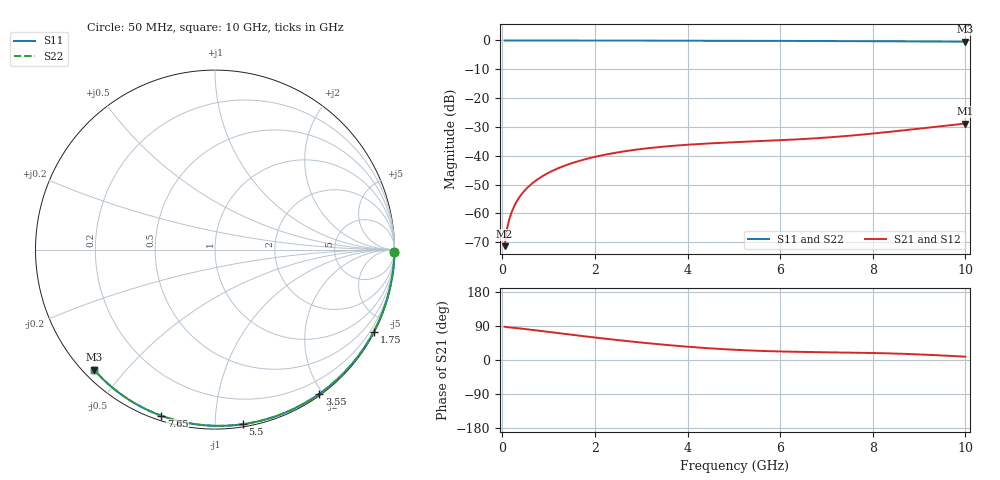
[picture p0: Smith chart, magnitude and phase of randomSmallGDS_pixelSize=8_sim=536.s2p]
! freq	dB(S11)	phase(S11)	dB(S12)	phase(S12)
!  dB(S21)	phase(S21)	dB(S22)	phase(S22)
!S-par simulation data
#  GHz  S  DB  R 50
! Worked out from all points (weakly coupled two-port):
!   200 points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, 50 MHz to 10 GHz, reference 50 ohm
!   highest |S21| = -28.82 dB at 10 GHz (marker M1); lowest = -71.4 dB at 50 MHz (marker M2)
!   lowest |S11| = -0.4 dB at 10 GHz (marker M3), VSWR 38.83, Z = 1.51 - j20.6 ohm
!   |S11| at or under -10 dB: nowhere
!   |S22| runs from -0.4 to 0.0 dB; largest |S21 - S12| = 0
!   S11 on the Smith chart (normalised r, x): 50 MHz: open; 1.75 GHz: 0.04, -4.11; 3.55 GHz: 0.02, -1.96; 5.5 GHz: 0.02, -1.17; 7.65 GHz: 0.02, -0.73; 10 GHz: 0.03, -0.41
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0.05  -0.00 -0.8  -71.37 87.8  -71.37 87.8  -0.00 -0.8
0.1  -0.00 -1.6  -65.51 86.8  -65.51 86.8  -0.00 -1.6
0.15  -0.00 -2.4  -62.08 86.2  -62.08 86.2  -0.00 -2.4
0.2  -0.00 -3.2  -59.63 85.6  -59.63 85.6  -0.00 -3.2
0.25  -0.00 -4.0  -57.72 85.0  -57.72 85.0  -0.00 -4.0
0.35  -0.00 -5.6  -54.84 83.7  -54.84 83.7  -0.00 -5.6
0.5  -0.01 -7.9  -51.77 81.6  -51.77 81.6  -0.01 -7.9
0.7  -0.01 -11.1  -48.90 78.6  -48.90 78.6  -0.01 -11.1
1  -0.02 -15.8  -45.89 74.1  -45.89 74.1  -0.02 -15.8
1.35  -0.03 -21.2  -43.43 68.8  -43.43 68.8  -0.03 -21.2
1.75  -0.03 -27.4  -41.39 63.0  -41.39 63.0  -0.03 -27.4
2.5  -0.05 -38.7  -38.81 52.5  -38.81 52.5  -0.05 -38.7
3.4  -0.07 -52.0  -36.96 41.3  -36.96 41.3  -0.07 -52.0
3.55  -0.07 -54.1  -36.74 39.7  -36.74 39.7  -0.07 -54.1
4.3  -0.09 -64.7  -35.87 32.3  -35.87 32.3  -0.09 -64.7
5.05  -0.11 -75.0  -35.27 26.8  -35.27 26.8  -0.11 -75.0
5.5  -0.13 -80.9  -34.97 24.4  -34.97 24.4  -0.13 -80.9
6.7  -0.18 -96.3  -34.01 20.9  -34.01 20.9  -0.18 -96.2
7.65  -0.24 -107.9  -32.83 19.4  -32.83 19.4  -0.24 -107.8
8.35  -0.29 -116.2  -31.72 17.5  -31.72 17.5  -0.29 -116.1
9.2  -0.37 -126.0  -30.24 13.7  -30.24 13.7  -0.37 -125.9
10  -0.45 -135.2  -28.82 8.8  -28.82 8.8  -0.45 -135.0
